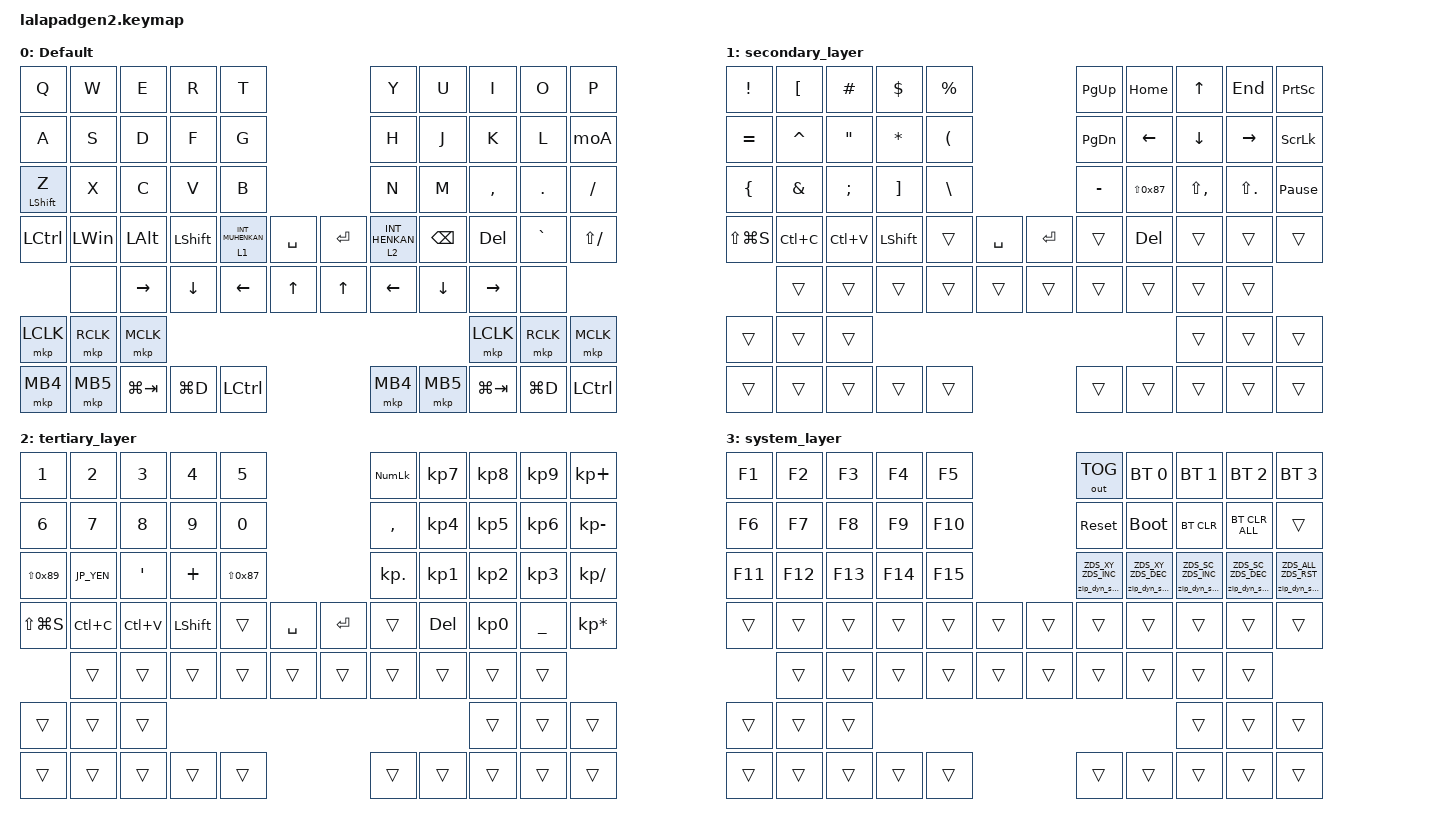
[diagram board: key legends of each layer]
#include <input/processors.dtsi>
#include <dt-bindings/zmk/zip_dynamic_scale.h>
#include <behaviors.dtsi>
#include <dt-bindings/zmk/bt.h>
#include <dt-bindings/zmk/keys.h>
#include <dt-bindings/zmk/outputs.h>
#include <dt-bindings/zmk/pointing.h>

#define DEFAULT_LAYER   0
#define SECONDARY_LAYER 1
#define TERTIARY_LAYER  2
#define SYSTEM_LAYER    3

&mt { quick-tap-ms = <200>; };

&lt { quick-tap-ms = <200>; };

#define JP_DQUOTE       AT                // "
#define JP_AMPERSAND    CARET             // &
#define JP_QUOTE        AMPERSAND         // '
#define JP_EQUAL        UNDER             // =
#define JP_CARET        EQUAL             // ^
#define JP_YEN          0x89              // ¥
#define JP_PLUS         COLON             // +
#define JP_TILDE        PLUS              // ~
#define JP_PIPE         LS(0x89)          // |
#define JP_AT           LEFT_BRACKET      // @
#define JP_COLON        SINGLE_QUOTE      // :
#define JP_ASTERISK     DOUBLE_QUOTES     // *
#define JP_BACKQUOTE    LEFT_BRACE        // `
#define JP_UNDERSCORE   LS(0x87)          // _
#define JP_LBRACKET     RIGHT_BRACKET     // [
#define JP_RBRACKET     BACKSLASH         // ]
#define JP_LPAREN       ASTERISK          // (
#define JP_RPAREN       LEFT_PARENTHESIS  // )
#define JP_LBRACE       RIGHT_BRACE       // {
#define JP_RBRACE       PIPE              // }
#define JP_KANA         LANGUAGE_1        // かな
#define JP_EISU         LANGUAGE_2        // 英数
#define JP_HANZEN       GRAVE             // 半角/全角
#define JP_BSLH         INT1              // (backslash)
#define JP_LESS_THAN    LS(COMMA)         // <
#define JP_GREATER_THAN LS(DOT)           // >
#define JP_QUES         LS(FSLH)          // ?
/ {
    conditional_layers {
        compatible = "zmk,conditional-layers";

        Cond_Syslayer {
            if-layers = <1 2>;
            then-layer = <3>;
        };
    };

    moA: moA {
        compatible = "zmk,behavior-mod-morph";
        #binding-cells = <0>;
        bindings = <&kp MINUS>, <&kp UNDERSCORE>;

        mods = <(MOD_LSFT|MOD_RSFT)>;
    };

    moB: moB {
        compatible = "zmk,behavior-mod-morph";
        #binding-cells = <0>;
        bindings = <&kp EQUAL>, <&kp PLUS>;

        mods = <(MOD_LSFT|MOD_RSFT)>;
    };

    moC: moC {
        compatible = "zmk,behavior-mod-morph";
        #binding-cells = <0>;
        bindings = <&kp INT3>, <&kp JP_PIPE>;

        mods = <(MOD_LSFT|MOD_RSFT)>;
    };

    moD: moD {
        compatible = "zmk,behavior-mod-morph";
        #binding-cells = <0>;
        bindings = <&kp LBKT>, <&kp LBRC>;

        mods = <(MOD_LSFT|MOD_RSFT)>;
    };

    moE: moE {
        compatible = "zmk,behavior-mod-morph";
        #binding-cells = <0>;
        bindings = <&kp RBKT>, <&kp RBRC>;

        mods = <(MOD_LSFT|MOD_RSFT)>;
    };

    moF: moF {
        compatible = "zmk,behavior-mod-morph";
        #binding-cells = <0>;
        bindings = <&kp SEMI>, <&kp KP_PLUS>;

        mods = <(MOD_LSFT|MOD_RSFT)>;
    };

    moG: moG {
        compatible = "zmk,behavior-mod-morph";
        #binding-cells = <0>;
        bindings = <&kp APOSTROPHE>, <&kp DQT>;

        mods = <(MOD_LSFT|MOD_RSFT)>;
    };

    moH: moH {
        compatible = "zmk,behavior-mod-morph";
        #binding-cells = <0>;
        bindings = <&kp BACKSLASH>, <&kp TILDE2>;

        mods = <(MOD_LSFT|MOD_RSFT)>;
    };

    moI: moI {
        compatible = "zmk,behavior-mod-morph";
        #binding-cells = <0>;
        bindings = <&kp JP_BSLH>, <&kp JP_UNDERSCORE>;

        mods = <(MOD_LSFT|MOD_RSFT)>;
    };

    behaviors {
        // カスタムHold-Tapの名前を定義
        lt_sec_muhenkan: lt_sec_muhenkan {
            compatible = "zmk,behavior-hold-tap";
            label = "LT_SEC_MUHENKAN";
            #binding-cells = <2>;
            tapping-term-ms = <200>;      // 判定時間（好みに合わせて150〜200で調整）
            quick-tap-ms = <200>;        // 連続タップ時はタップ（変換）を優先
            flavor = "hold-preferred";    // 迷ったらホールド（レイヤー）を優先する設定
            bindings = <&mo>, <&kp>;
        };
    };
    behaviors {
        // カスタムHold-Tapの名前を定義
        lt_ter_henkan: lt_ter_henkan {
            compatible = "zmk,behavior-hold-tap";
            label = "LT_TER_HENKAN";
            #binding-cells = <2>;
            tapping-term-ms = <200>;      // 判定時間（好みに合わせて150〜200で調整）
            quick-tap-ms = <200>;        // 連続タップ時はタップ（無変換）を優先
            flavor = "hold-preferred";    // 迷ったらホールド（レイヤー）を優先する設定
            bindings = <&mo>, <&kp>;
        };
    };

    behaviors {
        zip_dyn_scale: zip_dyn_scale {
            compatible = "zmk,behavior-zip-dynamic-scale";
            #binding-cells = <2>;
        };

        zip_dyn_scale_set: zip_dyn_scale_set {
            compatible = "zmk,behavior-zip-dynamic-scale-set";
            #binding-cells = <2>;
        };

        mt2: mod_tap2 {
            compatible = "zmk,behavior-hold-tap";
            #binding-cells = <2>;
            flavor = "tap-preferred";
            tapping-term-ms = <200>;
            quick-tap-ms = <200>;
            require-prior-idle-ms = <125>;
            bindings = <&kp>, <&kp>;
        };

        tap_dance_layer_1and2: tap_dance_layer_1and2 {
            compatible = "zmk,behavior-tap-dance";
            label = "td_mo12";
            #binding-cells = <0>;
            bindings = <&mo 1>, <&mo 2>;
        };
    };

    combos {
        compatible = "zmk,combos";

        CONBO_ESC {
            bindings = <&kp ESCAPE>;
            key-positions = <0 1>;
        };

        COMBO_TAB {
            bindings = <&kp TAB>;
            key-positions = <10 11>;
        };

        COMBO_JP_HANZEN {
            bindings = <&kp JP_HANZEN>;
            key-positions = <20 21>;
        };

        COMBO_CAPS {
            bindings = <&kp LS(CAPS)>;
            key-positions = <30 31>;
        };
    };

    keymap {
        compatible = "zmk,keymap";

        DEFAULT_LAYER {
            display-name = "Default";
            bindings = <
            // -----------------------------------------------------------------------------------------
            // |  Q  |  W  |  E  |  R  |  T  |                     |  Y  |  U  |  I  |  O  |  P  |
            //      ESC
            // |  A  |  S  |  D  |  F  |  G  |                     |  H  |  J  |  K  |  L  |  -  |  
            //      TAB 
            // |  Z  |  X  |  C  |  V  |  B  |                     |  N  |  M  |  ,  |  .  |  /  |
            // |    半/全
            // |CTRL | WIN | ALT |  |SHIFT| sec |SPACE|    | ENT | ter | BS |  | DEL | 半/全 | ? | 
            // |CAPS                MUHENKAN                      HENKAN

&kp Q              &kp W      &kp E         &kp R      &kp T                                         &kp Y      &kp U     &kp I           &kp O           &kp P
&kp A              &kp S      &kp D         &kp F      &kp G                                         &kp H      &kp J     &kp K           &kp L           &moA
&mt2 LEFT_SHIFT Z  &kp X      &kp C         &kp V      &kp B                                         &kp N      &kp M     &kp COMMA       &kp PERIOD      &kp SLASH
&kp LCTRL          &kp LWIN   &kp LEFT_ALT  &kp LEFT_SHIFT  &lt_sec_muhenkan 1 INT_MUHENKAN  &kp SPACE    &kp ENTER  &lt_ter_henkan 2 INT_HENKAN  &kp BACKSPACE  &kp DEL  &kp JP_HANZEN  &kp JP_QUES
                   &none      &kp RIGHT     &kp DOWN   &kp LEFT   &kp UP          &kp UP         &kp LEFT   &kp DOWN  &kp RIGHT       &none
&mkp LCLK          &mkp RCLK  &mkp MCLK                                                                               &mkp LCLK       &mkp RCLK       &mkp MCLK
&mkp MB4           &mkp MB5   &kp LG(TAB)   &kp LG(D)  &kp LCTRL                                 &mkp MB4   &mkp MB5  &kp LG(TAB)     &kp LG(D)       &kp LCTRL
            >;
        };

        SECONDARY_LAYER {
            display-name = "secondary_layer";
            bindings = <
            // -----------------------------------------------------------------------------------------
            // |  !  |  @  |  #  |  $  |  %  |                    |PAGE_UP  |HOME |  ↑  | END | PRSC | 
            // |  ^  |  &  |  *  |  (  |  )  |                    |PAGE_DOWN|  ←  |  ↓  |  →  | SCLK |
            // |  `  |  '  |  ;  |  [  |  ]  |                    |  　-    |  _  |  <  |  >  |PAUSE_BREAK|
            // |GCOPY| CC  | CV |  |SHIFT| sec |SPACE|     | ENT | ter | del |      |     |     |      | 

&kp EXCLAMATION  &kp JP_AT      &kp HASH      &kp DOLLAR            &kp PERCENT                            &kp PAGE_UP    &kp HOME           &kp UP_ARROW      &kp END              &kp PRINTSCREEN
&kp JP_CARET     &kp JP_AMPERSAND  &kp JP_ASTERISK  &kp JP_LPAREN   &kp JP_RPAREN                          &kp PAGE_DOWN  &kp LEFT           &kp DOWN_ARROW    &kp RIGHT            &kp SCROLLLOCK
&kp JP_BACKQUOTE  &kp JP_QUOTE  &kp SEMI      &kp JP_LBRACKET       &kp JP_RBRACKET                        &kp MINUS      &kp JP_UNDERSCORE  &kp JP_LESS_THAN  &kp JP_GREATER_THAN  &kp PAUSE_BREAK
&kp LS(LG(S))  &kp LC(C)  &kp LC(V)         &kp LEFT_SHIFT &trans   &kp SPACE                   &kp RET       &trans    &kp DEL    &trans          &trans     &trans
                 &trans         &trans        &trans                &trans         &trans          &trans  &trans         &trans    &trans          &trans
&trans           &trans         &trans                                                                                              &trans          &trans     &trans
&trans           &trans         &trans        &trans                &trans                                 &trans         &trans    &trans          &trans     &trans
            >;
        };

        TERTIARY_LAYER {
            display-name = "tertiary_layer";
            bindings = <
            // -----------------------------------------------------------------------------------------
            // |  1  |  2  |  3  |  4  |  5  |          　         |NUMLOCK|  7  |  8  |  9  |  +  |
            // |  6  |  7  |  8  |  9  |  0  |     　　            |   ,   |  4  |  5  |  6  |  -  |
            // |  |　|  ¥  |  :  |  ~  |  _  |     　              |   .   |  1  |  2  |  3  |  /  |
            // |GCOPY| CC  | CV  |    |SHIFT| sec |SPACE|   | ENT | ter | del |  |  0  |  =  |  *  | 

&kp NUMBER_1   &kp NUMBER_2   &kp NUMBER_3   &kp NUMBER_4   &kp NUMBER_5                        &kp KP_NUMLOCK    &kp KP_NUMBER_7    &kp KP_NUMBER_8  &kp KP_NUMBER_9  &kp KP_PLUS
&kp NUMBER_6   &kp NUMBER_7   &kp NUMBER_8   &kp NUMBER_9   &kp NUMBER_0                        &kp COMMA         &kp KP_NUMBER_4    &kp KP_NUMBER_5  &kp KP_NUMBER_6  &kp KP_MINUS
&kp JP_PIPE    &kp JP_YEN     &kp JP_COLON   &kp JP_TILDE   &kp JP_UNDERSCORE                   &kp KP_DOT        &kp KP_NUMBER_1    &kp KP_NUMBER_2  &kp KP_NUMBER_3  &kp KP_DIVIDE
&kp LS(LG(S))   &kp LC(C)     &kp LC(V)         &kp LEFT_SHIFT &trans    &kp SPACE         &kp RET       &trans    &kp DEL           &kp KP_NUMBER_0  &kp JP_EQUAL     &kp KP_ASTERISK
                 &trans         &trans        &trans                &trans         &trans          &trans  &trans         &trans    &trans          &trans
&trans           &trans         &trans                                                                                              &trans          &trans     &trans
&trans           &trans         &trans        &trans                &trans                                 &trans         &trans    &trans          &trans     &trans
            >;
        };

        SYSTEM_LAYER {
            display-name = "system_layer";
            bindings = <
            // |  F1  |  F2  |  F3  |  F4  |  F5  |              |OUT_TOG|   BT0    |  BT1  |   BT2  |  BT3  |
            // |  F6  |  F7  |  F8  |  F9  |  F0  |              |reset  |bootloader|BTCLR  |BTallCLR|       |
            // |  F11 |  F12 |  F13 | F14  |  F15 |              | CARSP |  CARSDW  | SCLSU | SCLSDW | SPREST|
            // |     |     |     |   |   | sec |   |        |    | ter |    |    |     |     |     | 

&kp F1   &kp F2   &kp F3   &kp F4   &kp F5                   &out OUT_TOG                   &bt BT_SEL 0                   &bt BT_SEL 1                   &bt BT_SEL 2                   &bt BT_SEL 3
&kp F6   &kp F7   &kp F8   &kp F9   &kp F10                  &sys_reset                     &bootloader                    &bt BT_CLR                     &bt BT_CLR_ALL                 &trans
&kp F11  &kp F12  &kp F13  &kp F14  &kp F15                  &zip_dyn_scale ZDS_XY ZDS_INC  &zip_dyn_scale ZDS_XY ZDS_DEC  &zip_dyn_scale ZDS_SC ZDS_INC  &zip_dyn_scale ZDS_SC ZDS_DEC  &zip_dyn_scale ZDS_ALL ZDS_RST
&trans   &trans   &trans   &trans   &trans   &trans  &trans  &trans                         &trans                         &trans                         &trans                         &trans
         &trans   &trans   &trans   &trans   &trans  &trans  &trans                         &trans                         &trans                         &trans
&trans   &trans   &trans                                                                                                   &trans                         &trans                         &trans
&trans   &trans   &trans   &trans   &trans                   &trans                         &trans                         &trans                         &trans                         &trans
            >;
        };
    };

};
